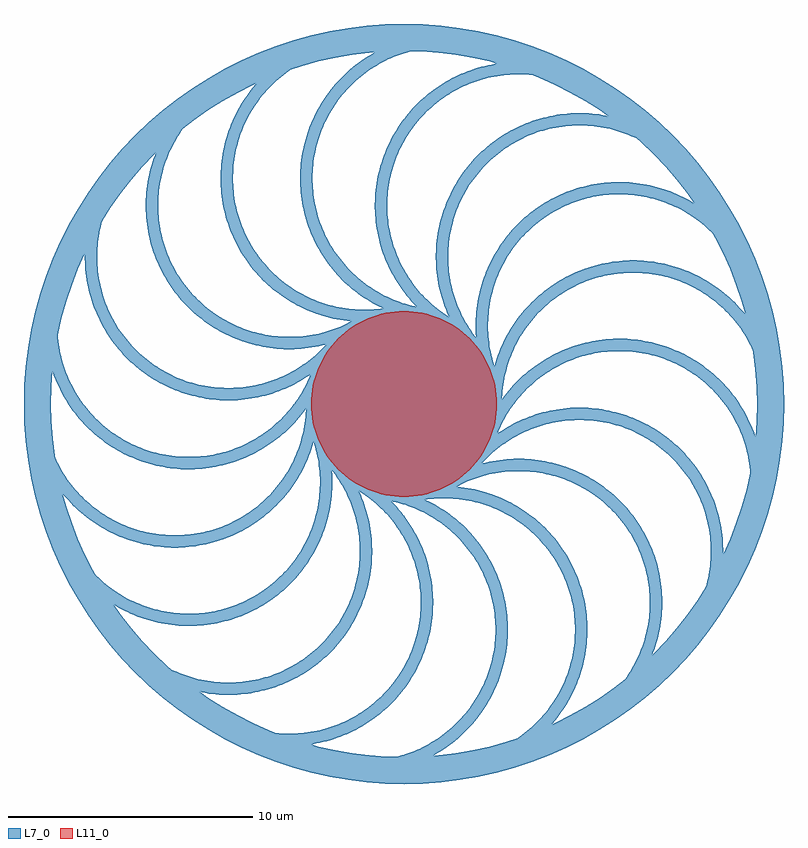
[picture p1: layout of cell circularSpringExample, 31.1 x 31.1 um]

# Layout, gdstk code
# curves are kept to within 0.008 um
import gdstk
lib = gdstk.Library(unit=1e-6, precision=1e-09)
def P(c, l, *ps):  # polygons
    for p in ps: c.add(gdstk.Polygon(p, *l))
L7_0 = (7, 0)
L11_0 = (11, 0)

circularspringexample = lib.new_cell('circularSpringExample')
P(circularspringexample, L7_0, [(0,-15.55),(-0.763,-15.531),(-1.524,-15.475),(-2.282,-15.382),(-3.034,-15.251),(-3.778,-15.084),(-4.514,-14.88),(-5.239,-14.641),(-5.951,-14.366),(-6.648,-14.057),(-7.33,-13.714),(-7.994,-13.338),(-8.639,-12.929),(-9.263,-12.49),(-9.865,-12.02),(-10.57,-11.401),(-6.991,-11.398),(-6.728,-11.382),(-6.335,-11.334),(-6.076,-11.286),(-5.692,-11.19),(-5.193,-11.02),(-4.831,-10.86),(-4.481,-10.674),(-4.039,-10.387),(-3.627,-10.058),(-3.34,-9.785),(-2.99,-9.39),(-2.754,-9.073),(-2.476,-8.624),(-2.298,-8.271),(-2.146,-7.906),(-2.021,-7.53),(-1.925,-7.147),(-1.84,-6.626),(-1.811,-6.231),(-1.81,-5.836),(-1.839,-5.441),(-1.896,-5.05),(-1.982,-4.663),(-2.141,-4.16),(-2.292,-3.794),(-2.469,-3.441),(-2.672,-3.101),(-2.956,-2.704),(-2.937,-3.03),(-2.94,-3.463),(-2.975,-3.894),(-3.041,-4.321),(-3.103,-4.603),(-3.221,-5.019),(-3.317,-5.291),(-3.485,-5.689),(-3.682,-6.074),(-3.907,-6.444),(-4.158,-6.796),(-4.34,-7.02),(-4.633,-7.338),(-4.841,-7.538),(-5.17,-7.818),(-5.401,-7.991),(-5.639,-8.153),(-6.012,-8.373),(-6.269,-8.504),(-6.665,-8.676),(-6.936,-8.775),(-7.351,-8.898),(-7.774,-8.989),(-8.202,-9.05),(-8.633,-9.079),(-9.066,-9.076),(-9.497,-9.041),(-9.782,-9),(-10.066,-8.946),(-10.484,-8.838),(-10.759,-8.749),(-11.181,-8.581),(-8.648,-8.579),(-8.385,-8.565),(-7.992,-8.519),(-7.475,-8.413),(-7.096,-8.301),(-6.848,-8.211),(-6.485,-8.053),(-6.135,-7.869),(-5.909,-7.732),(-5.584,-7.506),(-5.377,-7.343),(-5.082,-7.079),(-4.807,-6.794),(-4.636,-6.594),(-4.398,-6.277),(-4.184,-5.945),(-3.995,-5.597),(-3.833,-5.236),(-3.697,-4.865),(-3.589,-4.484),(-3.509,-4.096),(-3.458,-3.704),(-3.44,-3.441),(-3.437,-3.045),(-3.463,-2.65),(-3.519,-2.259),(-3.603,-1.872),(-3.703,-1.53),(-3.843,-1.979),(-3.947,-2.248),(-4.127,-2.641),(-4.336,-3.02),(-4.49,-3.264),(-4.743,-3.614),(-5.022,-3.945),(-5.324,-4.255),(-5.648,-4.541),(-5.992,-4.803),(-6.355,-5.039),(-6.734,-5.248),(-6.994,-5.371),(-7.396,-5.532),(-7.808,-5.662),(-8.229,-5.762),(-8.656,-5.831),(-9.087,-5.868),(-9.375,-5.875),(-9.807,-5.859),(-10.094,-5.831),(-10.521,-5.762),(-10.942,-5.662),(-11.354,-5.532),(-11.756,-5.371),(-12.016,-5.248),(-12.395,-5.039),(-12.758,-4.803),(-13.102,-4.541),(-13.426,-4.255),(-13.728,-3.945),(-13.979,-3.649),(-13.828,-4.195),(-13.605,-4.868),(-13.35,-5.53),(-13.063,-6.178),(-12.744,-6.812),(-12.664,-6.952),(-12.495,-7.119),(-12.093,-7.462),(-11.66,-7.763),(-11.2,-8.021),(-10.717,-8.232),(-10.342,-8.358),(-9.829,-8.484),(-9.307,-8.558),(-8.78,-8.581),(-11.181,-8.581),(-11.551,-8.403),(-11.886,-8.211),(-11.606,-8.608),(-11.17,-9.167),(-10.707,-9.704),(-10.218,-10.218),(-9.704,-10.707),(-9.52,-10.866),(-9.184,-11.014),(-8.937,-11.106),(-8.559,-11.222),(-8.302,-11.283),(-7.781,-11.368),(-7.519,-11.391),(-7.123,-11.401),(-10.57,-11.401),(-10.996,-10.996),(-11.522,-10.443),(-12.02,-9.865),(-12.49,-9.263),(-12.929,-8.639),(-13.338,-7.994),(-13.714,-7.33),(-14.057,-6.648),(-14.366,-5.951),(-14.641,-5.239),(-14.88,-4.514),(-15.084,-3.778),(-15.251,-3.034),(-15.382,-2.282),(-15.475,-1.524),(-15.531,-0.763),(-15.55,0),(-14.45,0),(-14.433,-0.709),(-14.38,-1.416),(-14.28,-2.197),(-14.052,-2.649),(-13.916,-2.876),(-13.692,-3.202),(-13.358,-3.61),(-13.176,-3.801),(-12.886,-4.07),(-12.47,-4.395),(-12.024,-4.677),(-11.553,-4.914),(-11.186,-5.061),(-10.681,-5.214),(-10.294,-5.296),(-9.902,-5.349),(-9.375,-5.375),(-8.848,-5.349),(-8.326,-5.272),(-7.815,-5.144),(-7.318,-4.966),(-6.841,-4.74),(-6.389,-4.469),(-5.965,-4.155),(-5.574,-3.801),(-5.22,-3.41),(-4.98,-3.095),(-4.698,-2.649),(-4.461,-2.178),(-4.271,-1.686),(-4.131,-1.178),(-4.04,-0.658),(-4.003,-0.171),(-4.198,-0.433),(-4.478,-0.763),(-4.782,-1.071),(-4.997,-1.263),(-5.22,-1.445),(-5.572,-1.696),(-5.817,-1.849),(-6.197,-2.056),(-6.591,-2.234),(-6.861,-2.336),(-7.135,-2.425),(-7.554,-2.533),(-7.979,-2.61),(-8.266,-2.643),(-8.553,-2.663),(-8.986,-2.666),(-9.417,-2.637),(-9.703,-2.6),(-10.268,-2.485),(-10.683,-2.362),(-10.954,-2.263),(-11.35,-2.091),(-11.607,-1.96),(-11.98,-1.74),(-12.219,-1.578),(-12.561,-1.315),(-12.779,-1.125),(-13.087,-0.821),(-13.279,-0.607),(-13.547,-0.268),(-13.732,0),(-13.123,0),(-12.899,-0.282),(-12.723,-0.479),(-12.441,-0.756),(-12.14,-1.013),(-11.929,-1.171),(-11.598,-1.389),(-11.369,-1.52),(-11.015,-1.695),(-10.523,-1.888),(-10.016,-2.031),(-9.627,-2.106),(-9.366,-2.14),(-8.839,-2.168),(-8.443,-2.156),(-8.181,-2.132),(-7.79,-2.071),(-7.532,-2.015),(-7.026,-1.864),(-6.78,-1.771),(-6.419,-1.608),(-6.186,-1.485),(-5.848,-1.279),(-5.631,-1.128),(-5.321,-0.883),(-5.125,-0.707),(-4.847,-0.425),(-4.496,0),(0,0),(0,-4.11),(-0.526,-3.972),(-0.302,-4.209),(0,-4.578),(0,-5.489),(-0.194,-5.169),(-0.344,-4.953),(-0.505,-4.743),(-0.764,-4.445),(-1.045,-4.166),(-1.244,-3.992),(-1.557,-3.75),(-1.853,-3.552),(-1.724,-3.852),(-1.579,-4.259),(-1.464,-4.676),(-1.404,-4.959),(-1.342,-5.387),(-1.31,-5.818),(-1.307,-6.106),(-1.329,-6.538),(-1.361,-6.825),(-1.436,-7.251),(-1.541,-7.67),(-1.678,-8.081),(-1.785,-8.348),(-1.97,-8.739),(-2.184,-9.115),(-2.425,-9.474),(-2.691,-9.815),(-2.982,-10.135),(-3.296,-10.433),(-3.631,-10.707),(-3.985,-10.955),(-4.23,-11.106),(-4.612,-11.309),(-5.008,-11.484),(-5.415,-11.629),(-5.832,-11.744),(-6.256,-11.828),(-6.686,-11.88),(-7.118,-11.901),(-7.55,-11.89),(-7.98,-11.847),(-8.359,-11.782),(-8.028,-12.015),(-7.429,-12.394),(-6.812,-12.744),(-6.178,-13.063),(-5.53,-13.35),(-5.228,-13.466),(-5.127,-13.476),(-4.6,-13.493),(-4.073,-13.459),(-3.553,-13.373),(-3.296,-13.311),(-2.918,-13.194),(-2.671,-13.102),(-2.31,-12.94),(-1.962,-12.752),(-1.738,-12.612),(-1.415,-12.383),(-1.21,-12.218),(-0.918,-11.951),(-0.735,-11.761),(-0.561,-11.563),(-0.318,-11.25),(-0.17,-11.032),(0,-10.748),(0,-11.661),(-0.27,-11.993),(-0.466,-12.205),(-0.887,-12.599),(-1.226,-12.866),(-1.585,-13.108),(-1.961,-13.323),(-2.219,-13.45),(-2.618,-13.617),(-3.028,-13.755),(-3.447,-13.862),(-3.825,-13.93),(-3.511,-14.017),(-2.819,-14.172),(-2.12,-14.294),(-1.416,-14.38),(-0.709,-14.433),(-0.307,-14.442),(0,-14.355)],
  [(0,-11.661),(0,-10.748),(0.152,-10.457),(0.311,-10.094),(0.402,-9.847),(0.516,-9.468),(0.601,-9.081),(0.642,-8.821),(0.679,-8.427),(0.687,-8.163),(0.676,-7.767),(0.652,-7.505),(0.616,-7.243),(0.537,-6.856),(0.43,-6.475),(0.295,-6.103),(0.133,-5.742),(0,-5.489),(0,-4.578),(0.302,-5.017),(0.516,-5.392),(0.703,-5.782),(0.86,-6.185),(0.987,-6.598),(1.084,-7.02),(1.164,-7.591),(1.187,-8.023),(1.168,-8.599),(1.117,-9.029),(1,-9.593),(0.876,-10.007),(0.722,-10.412),(0.471,-10.931),(0.25,-11.303)],
  [(0,-15.55),(0,-14.399),(1.169,-14.399),(1.416,-14.38),(2.12,-14.294),(2.819,-14.172),(3.511,-14.017),(4.195,-13.828),(4.65,-13.677),(4.946,-13.461),(5.327,-13.132),(6.022,-13.132),(6.812,-12.744),(7.429,-12.394),(8.028,-12.015),(8.608,-11.606),(9.045,-11.265),(9.181,-11.069),(9.386,-10.73),(9.607,-10.283),(10.149,-10.283),(10.707,-9.704),(11.17,-9.167),(11.606,-8.608),(12.015,-8.028),(12.352,-7.496),(12.442,-7.132),(12.509,-6.742),(12.547,-6.348),(12.556,-6.085),(12.546,-5.689),(12.507,-5.296),(12.465,-5.035),(12.377,-4.649),(12.262,-4.271),(12.17,-4.024),(12.009,-3.662),(11.822,-3.313),(11.61,-2.979),(11.374,-2.662),(11.115,-2.363),(10.93,-2.174),(10.737,-1.995),(10.43,-1.744),(10.107,-1.517),(9.767,-1.314),(9.413,-1.136),(9.048,-0.985),(8.672,-0.862),(8.416,-0.795),(8.028,-0.718),(7.636,-0.67),(7.24,-0.651),(6.977,-0.655),(6.582,-0.685),(6.191,-0.743),(5.933,-0.798),(5.551,-0.904),(5.302,-0.99),(4.937,-1.142),(4.584,-1.321),(4.244,-1.525),(4.027,-1.674),(3.715,-1.918),(3.423,-2.184),(3.177,-2.442),(3.636,-2.339),(4.064,-2.277),(4.495,-2.247),(4.928,-2.249),(5.359,-2.282),(5.786,-2.348),(6.208,-2.444),(6.621,-2.571),(7.024,-2.729),(7.414,-2.915),(7.79,-3.13),(8.264,-3.458),(8.597,-3.734),(8.909,-4.033),(9.198,-4.355),(9.463,-4.697),(9.625,-4.935),(9.846,-5.307),(10.097,-5.826),(10.203,-6.095),(10.337,-6.506),(10.409,-6.785),(10.492,-7.209),(10.543,-7.639),(10.559,-7.927),(10.562,-8.215),(10.539,-8.647),(10.459,-9.218),(10.398,-9.5),(10.281,-9.916),(10.149,-10.283),(9.607,-10.283),(9.763,-9.888),(9.879,-9.51),(9.968,-9.124),(10.041,-8.602),(10.062,-8.207),(10.045,-7.68),(9.998,-7.287),(9.891,-6.77),(9.777,-6.391),(9.583,-5.901),(9.407,-5.547),(9.205,-5.206),(8.978,-4.882),(8.729,-4.575),(8.457,-4.287),(8.063,-3.936),(7.746,-3.699),(7.413,-3.486),(7.065,-3.298),(6.704,-3.136),(6.332,-3.002),(5.951,-2.895),(5.563,-2.816),(5.171,-2.766),(4.775,-2.745),(4.38,-2.753),(3.986,-2.79),(3.596,-2.856),(3.212,-2.951),(2.835,-3.073),(2.469,-3.223),(2.15,-3.381),(2.617,-3.441),(2.9,-3.497),(3.318,-3.606),(3.727,-3.745),(4.125,-3.915),(4.51,-4.113),(4.879,-4.339),(5.23,-4.591),(5.561,-4.869),(5.872,-5.17),(6.159,-5.493),(6.422,-5.837),(6.659,-6.198),(6.868,-6.577),(7.05,-6.97),(7.201,-7.374),(7.323,-7.79),(7.414,-8.212),(7.486,-8.784),(7.503,-9.217),(7.488,-9.649),(7.442,-10.079),(7.331,-10.645),(7.211,-11.06),(7.005,-11.599),(6.748,-12.114),(6.44,-12.602),(6.18,-12.947),(6.022,-13.132),(5.327,-13.132),(5.62,-12.831),(5.874,-12.528),(6.105,-12.207),(6.312,-11.869),(6.548,-11.397),(6.694,-11.03),(6.812,-10.652),(6.903,-10.267),(6.964,-9.876),(7.002,-9.35),(6.996,-8.954),(6.961,-8.56),(6.897,-8.17),(6.767,-7.658),(6.637,-7.284),(6.481,-6.921),(6.297,-6.571),(6.089,-6.234),(5.774,-5.811),(5.511,-5.516),(5.227,-5.24),(4.923,-4.986),(4.602,-4.755),(4.149,-4.485),(3.671,-4.261),(3.3,-4.124),(2.92,-4.015),(2.532,-3.934),(2.14,-3.882),(1.745,-3.859),(1.218,-3.873),(0.864,-3.913),(1.282,-4.129),(1.649,-4.357),(1.999,-4.611),(2.329,-4.89),(2.638,-5.193),(2.924,-5.518),(3.185,-5.863),(3.492,-6.351),(3.69,-6.735),(3.859,-7.133),(3.999,-7.542),(4.108,-7.961),(4.186,-8.386),(4.232,-8.816),(4.247,-9.249),(4.23,-9.681),(4.158,-10.253),(4.067,-10.676),(3.898,-11.227),(3.737,-11.628),(3.546,-12.016),(3.248,-12.51),(2.994,-12.86),(2.714,-13.19),(2.411,-13.499),(1.974,-13.874),(1.502,-14.205),(1.169,-14.399),(0,-14.399),(0,-14.355),(0.415,-14.204),(0.893,-13.98),(1.235,-13.781),(1.562,-13.559),(1.872,-13.312),(2.162,-13.044),(2.432,-12.754),(2.681,-12.446),(2.905,-12.121),(3.167,-11.662),(3.332,-11.303),(3.471,-10.933),(3.613,-10.425),(3.687,-10.036),(3.731,-9.643),(3.747,-9.247),(3.734,-8.852),(3.691,-8.458),(3.59,-7.941),(3.48,-7.56),(3.343,-7.189),(3.18,-6.829),(2.921,-6.369),(2.698,-6.042),(2.452,-5.733),(2.183,-5.442),(1.894,-5.172),(1.479,-4.847),(1.148,-4.63),(0.802,-4.438),(0.443,-4.272),(0,-4.11),(0,0),(4.496,0),(4.284,-0.306),(4.147,-0.532),(3.963,-0.882),(3.82,-1.208),(4.216,-0.954),(4.469,-0.815),(4.728,-0.688),(5.127,-0.522),(5.538,-0.386),(5.957,-0.28),(6.24,-0.227),(6.67,-0.173),(6.957,-0.155),(7.39,-0.155),(7.678,-0.172),(8.107,-0.224),(8.531,-0.308),(8.81,-0.381),(9.221,-0.516),(9.621,-0.681),(10.007,-0.875),(10.379,-1.097),(10.733,-1.346),(11.067,-1.62),(11.381,-1.917),(11.672,-2.237),(11.938,-2.578),(12.179,-2.937),(12.393,-3.313),(12.578,-3.704),(12.734,-4.107),(12.861,-4.521),(12.956,-4.943),(13.02,-5.371),(13.052,-5.802),(13.054,-6.196),(13.35,-5.53),(13.605,-4.868),(13.828,-4.195),(14.017,-3.511),(14.171,-2.825),(14.131,-2.447),(14.06,-2.057),(13.962,-1.674),(13.835,-1.299),(13.681,-0.935),(13.501,-0.583),(13.295,-0.245),(13.123,0),(13.732,0),(13.937,-0.339),(14.072,-0.594),(14.25,-0.988),(14.385,-1.355),(14.433,-0.709),(14.45,0),(15.55,0),(15.531,-0.763),(15.475,-1.524),(15.382,-2.282),(15.251,-3.034),(15.084,-3.778),(14.88,-4.514),(14.641,-5.239),(14.366,-5.951),(14.057,-6.648),(13.714,-7.33),(13.338,-7.994),(12.929,-8.639),(12.49,-9.263),(12.02,-9.865),(11.522,-10.443),(10.996,-10.996),(10.443,-11.522),(9.865,-12.02),(9.263,-12.49),(8.639,-12.929),(7.994,-13.338),(7.33,-13.714),(6.648,-14.057),(5.951,-14.366),(5.239,-14.641),(4.514,-14.88),(3.778,-15.084),(3.034,-15.251),(2.282,-15.382),(1.524,-15.475),(0.763,-15.531)],
  [(0,4.578),(-0.302,5.017),(-0.516,5.392),(-0.703,5.782),(-0.86,6.185),(-0.987,6.598),(-1.084,7.02),(-1.164,7.591),(-1.187,8.023),(-1.168,8.599),(-1.117,9.029),(-1,9.593),(-0.876,10.007),(-0.722,10.412),(-0.471,10.931),(-0.25,11.303),(0,11.661),(0,10.748),(-0.152,10.457),(-0.311,10.094),(-0.402,9.847),(-0.516,9.468),(-0.601,9.081),(-0.642,8.821),(-0.679,8.427),(-0.687,8.163),(-0.676,7.767),(-0.652,7.505),(-0.616,7.243),(-0.537,6.856),(-0.43,6.475),(-0.295,6.103),(-0.133,5.742),(0,5.489)],
  [(-15.55,0),(-15.531,0.763),(-15.475,1.524),(-15.382,2.282),(-15.251,3.034),(-15.084,3.778),(-14.88,4.514),(-14.641,5.239),(-14.366,5.951),(-14.057,6.648),(-13.714,7.33),(-13.338,7.994),(-12.929,8.639),(-12.49,9.263),(-12.02,9.865),(-11.522,10.443),(-10.996,10.996),(-10.443,11.522),(-9.865,12.02),(-9.263,12.49),(-8.639,12.929),(-7.994,13.338),(-7.33,13.714),(-6.648,14.057),(-5.951,14.366),(-5.239,14.641),(-4.514,14.88),(-3.778,15.084),(-3.034,15.251),(-2.282,15.382),(-1.524,15.475),(-0.763,15.531),(0,15.55),(0,14.355),(-0.415,14.204),(-0.893,13.98),(-1.346,13.71),(-1.771,13.397),(-2.162,13.044),(-2.432,12.754),(-2.681,12.446),(-2.975,12.008),(-3.167,11.662),(-3.28,11.424),(-3.428,11.057),(-3.548,10.68),(-3.641,10.296),(-3.687,10.036),(-3.731,9.643),(-3.747,9.247),(-3.734,8.852),(-3.691,8.458),(-3.59,7.941),(-3.48,7.56),(-3.343,7.189),(-3.18,6.829),(-2.921,6.369),(-2.698,6.042),(-2.452,5.733),(-2.183,5.442),(-1.894,5.172),(-1.479,4.847),(-1.148,4.63),(-0.802,4.438),(-0.443,4.272),(0,4.11),(0,0),(-4.496,0),(-4.284,0.306),(-4.147,0.532),(-3.963,0.882),(-3.82,1.208),(-4.216,0.954),(-4.469,0.815),(-4.728,0.688),(-5.127,0.522),(-5.538,0.386),(-5.957,0.28),(-6.24,0.227),(-6.67,0.173),(-6.957,0.155),(-7.39,0.155),(-7.678,0.172),(-8.107,0.224),(-8.531,0.308),(-8.81,0.381),(-9.221,0.516),(-9.553,0.651),(-7.24,0.651),(-6.713,0.672),(-6.451,0.701),(-6.061,0.769),(-5.678,0.866),(-5.302,0.99),(-4.937,1.142),(-4.7,1.258),(-4.469,1.386),(-4.135,1.598),(-3.817,1.834),(-3.616,2.004),(-3.423,2.184),(-3.177,2.442),(-3.636,2.339),(-4.207,2.264),(-4.639,2.244),(-5.215,2.268),(-5.645,2.322),(-6.208,2.444),(-6.621,2.571),(-7.059,2.744),(-4.512,2.747),(-4.117,2.774),(-3.725,2.831),(-3.339,2.916),(-2.96,3.029),(-2.59,3.17),(-2.15,3.381),(-2.617,3.441),(-3.04,3.53),(-3.456,3.649),(-4,3.858),(-1.481,3.86),(-1.218,3.873),(-0.864,3.913),(-1.156,4.059),(-1.529,4.278),(-1.885,4.523),(-2.222,4.794),(-2.538,5.09),(-2.831,5.407),(-3.013,5.631),(-3.266,5.982),(-3.492,6.351),(-3.627,6.605),(-3.806,6.999),(-3.956,7.405),(-4.075,7.821),(-4.163,8.244),(-4.22,8.673),(-4.246,9.104),(-4.239,9.537),(-4.201,9.968),(-4.158,10.253),(-4.067,10.676),(-3.945,11.091),(-3.794,11.496),(-3.613,11.888),(-3.476,12.142),(-3.248,12.51),(-2.994,12.86),(-2.714,13.19),(-2.515,13.398),(-2.197,13.692),(-1.859,13.961),(-1.502,14.205),(-1.169,14.399),(-1.416,14.38),(-2.12,14.294),(-2.819,14.172),(-3.511,14.017),(-4.195,13.828),(-4.65,13.677),(-4.842,13.541),(-5.15,13.293),(-5.531,12.928),(-5.874,12.528),(-6.177,12.096),(-6.436,11.636),(-6.648,11.153),(-6.812,10.652),(-6.876,10.396),(-6.947,10.007),(-6.997,9.482),(-6.996,8.954),(-6.943,8.429),(-6.838,7.912),(-6.684,7.408),(-6.481,6.921),(-6.231,6.457),(-6.089,6.234),(-5.856,5.914),(-5.511,5.516),(-5.128,5.153),(-4.923,4.986),(-4.602,4.755),(-4.149,4.485),(-3.671,4.261),(-3.174,4.085),(-2.662,3.958),(-2.14,3.882),(-1.613,3.858),(-4,3.858),(-4.383,4.044),(-4.758,4.261),(-5.115,4.504),(-5.561,4.869),(-5.872,5.17),(-6.25,5.605),(-6.504,5.955),(-6.732,6.323),(-6.932,6.706),(-7.103,7.103),(-7.245,7.512),(-7.357,7.93),(-7.437,8.355),(-7.486,8.784),(-7.503,9.217),(-7.488,9.649),(-7.442,10.079),(-7.364,10.504),(-7.255,10.923),(-7.115,11.332),(-6.946,11.73),(-6.748,12.114),(-6.522,12.483),(-6.269,12.834),(-6.022,13.132),(-6.812,12.744),(-7.429,12.394),(-8.028,12.015),(-8.608,11.606),(-9.045,11.265),(-9.107,11.178),(-9.386,10.73),(-9.619,10.257),(-9.805,9.763),(-9.912,9.382),(-10.011,8.864),(-10.051,8.471),(-10.06,7.943),(-10.017,7.417),(-9.922,6.898),(-9.777,6.391),(-9.583,5.901),(-9.407,5.547),(-9.205,5.206),(-8.898,4.778),(-8.55,4.381),(-8.165,4.02),(-7.746,3.699),(-7.413,3.486),(-6.946,3.241),(-6.581,3.088),(-6.079,2.927),(-5.693,2.839),(-5.171,2.766),(-4.644,2.744),(-7.059,2.744),(-7.414,2.915),(-7.667,3.055),(-8.031,3.288),(-8.377,3.547),(-8.704,3.831),(-8.909,4.033),(-9.198,4.355),(-9.463,4.697),(-9.625,4.935),(-9.846,5.307),(-10.039,5.694),(-10.151,5.96),(-10.251,6.231),(-10.375,6.645),(-10.468,7.067),(-10.512,7.352),(-10.543,7.639),(-10.562,8.071),(-10.558,8.359),(-10.524,8.79),(-10.459,9.218),(-10.398,9.5),(-10.281,9.916),(-10.149,10.283),(-10.707,9.704),(-11.17,9.167),(-11.606,8.608),(-12.015,8.028),(-12.352,7.496),(-12.442,7.132),(-12.509,6.742),(-12.547,6.348),(-12.556,5.953),(-12.546,5.689),(-12.507,5.296),(-12.439,4.906),(-12.342,4.522),(-12.17,4.024),(-12.009,3.662),(-11.822,3.313),(-11.61,2.979),(-11.374,2.662),(-11.024,2.267),(-10.737,1.995),(-10.43,1.744),(-9.995,1.446),(-9.651,1.252),(-9.293,1.083),(-8.923,0.941),(-8.416,0.795),(-8.028,0.718),(-7.636,0.67),(-7.24,0.651),(-9.553,0.651),(-10.007,0.875),(-10.499,1.177),(-10.846,1.434),(-11.279,1.816),(-11.672,2.237),(-12.022,2.696),(-12.325,3.186),(-12.52,3.572),(-12.634,3.837),(-12.822,4.382),(-12.956,4.943),(-13.034,5.514),(-13.052,5.802),(-13.054,6.196),(-13.35,5.53),(-13.605,4.868),(-13.828,4.195),(-14.017,3.511),(-14.171,2.825),(-14.131,2.447),(-14.06,2.057),(-13.962,1.674),(-13.835,1.299),(-13.681,0.935),(-13.501,0.583),(-13.295,0.245),(-13.123,0),(-13.732,0),(-13.937,0.339),(-14.072,0.594),(-14.25,0.988),(-14.385,1.355),(-14.433,0.709),(-14.45,0)],
  [(0,0),(0,1.53),(3.703,1.53),(3.843,1.979),(3.947,2.248),(4.064,2.512),(4.263,2.896),(4.411,3.143),(4.656,3.5),(4.926,3.837),(5.221,4.154),(5.538,4.449),(5.875,4.719),(6.232,4.964),(6.479,5.112),(6.863,5.311),(7.127,5.428),(7.532,5.578),(7.947,5.699),(8.371,5.789),(8.799,5.847),(9.231,5.873),(9.663,5.868),(10.094,5.831),(10.521,5.762),(10.942,5.662),(11.354,5.532),(11.756,5.371),(12.016,5.248),(12.395,5.039),(12.758,4.803),(13.102,4.541),(13.426,4.255),(13.728,3.945),(13.979,3.649),(13.828,4.195),(13.605,4.868),(13.35,5.53),(13.063,6.178),(12.664,6.952),(12.397,7.209),(12.197,7.38),(11.771,7.692),(11.548,7.832),(11.2,8.021),(10.717,8.232),(10.215,8.394),(9.7,8.507),(9.176,8.569),(8.648,8.579),(8.385,8.565),(7.992,8.519),(7.603,8.444),(7.348,8.379),(6.848,8.211),(6.485,8.053),(6.25,7.933),(5.799,7.659),(5.377,7.343),(5.082,7.079),(4.897,6.891),(4.554,6.49),(4.398,6.277),(4.184,5.945),(3.938,5.478),(3.739,4.99),(3.658,4.739),(3.559,4.355),(3.472,3.835),(3.436,3.309),(3.437,3.045),(3.463,2.65),(3.544,2.129),(3.603,1.872),(3.703,1.53),(0,1.53),(0,2.704),(2.956,2.704),(2.937,3.03),(2.94,3.463),(2.975,3.894),(3.041,4.321),(3.139,4.742),(3.267,5.155),(3.426,5.558),(3.613,5.948),(3.829,6.322),(4.072,6.68),(4.34,7.02),(4.633,7.338),(4.948,7.634),(5.284,7.906),(5.639,8.153),(6.012,8.373),(6.269,8.504),(6.665,8.676),(6.936,8.775),(7.351,8.898),(7.774,8.989),(8.202,9.05),(8.489,9.073),(8.922,9.08),(9.21,9.068),(9.64,9.022),(10.066,8.946),(10.484,8.838),(10.894,8.699),(11.293,8.531),(11.551,8.403),(11.886,8.211),(11.606,8.608),(11.17,9.167),(10.707,9.704),(10.218,10.218),(9.704,10.707),(9.52,10.866),(9.061,11.062),(8.559,11.222),(8.043,11.332),(7.519,11.391),(6.991,11.398),(6.466,11.353),(5.947,11.257),(5.44,11.111),(4.95,10.916),(4.481,10.674),(4.257,10.536),(3.933,10.308),(3.727,10.144),(3.433,9.878),(3.16,9.592),(2.99,9.39),(2.83,9.181),(2.609,8.852),(2.355,8.39),(2.244,8.151),(2.101,7.782),(1.954,7.275),(1.876,6.887),(1.84,6.626),(1.807,6.099),(1.816,5.704),(1.839,5.441),(1.896,5.05),(1.95,4.791),(2.055,4.41),(2.141,4.16),(2.348,3.675),(2.469,3.441),(2.672,3.101),(2.956,2.704),(0,2.704),(0,4.11),(0.526,3.972),(0.302,4.209),(0,4.578),(0,5.489),(0.194,5.169),(0.344,4.953),(0.505,4.743),(0.764,4.445),(1.045,4.166),(1.244,3.992),(1.557,3.75),(1.853,3.552),(1.672,3.987),(1.537,4.398),(1.432,4.817),(1.359,5.243),(1.317,5.674),(1.307,6.106),(1.329,6.538),(1.383,6.967),(1.468,7.391),(1.583,7.808),(1.73,8.215),(1.905,8.61),(2.11,8.991),(2.342,9.356),(2.6,9.703),(2.883,10.031),(3.084,10.237),(3.405,10.527),(3.747,10.792),(4.107,11.032),(4.483,11.245),(4.742,11.371),(5.142,11.536),(5.415,11.629),(5.832,11.744),(6.114,11.803),(6.399,11.849),(6.829,11.891),(7.262,11.901),(7.55,11.89),(7.98,11.847),(8.359,11.782),(8.028,12.015),(7.429,12.394),(6.812,12.744),(6.178,13.063),(5.53,13.35),(5.228,13.466),(5.127,13.476),(4.6,13.493),(4.073,13.459),(3.553,13.373),(3.296,13.311),(2.918,13.194),(2.671,13.102),(2.31,12.94),(1.962,12.752),(1.738,12.612),(1.415,12.383),(1.21,12.218),(0.918,11.951),(0.735,11.761),(0.561,11.563),(0.318,11.25),(0.17,11.032),(0,10.748),(0,11.661),(0.27,11.993),(0.466,12.205),(0.887,12.599),(1.226,12.866),(1.585,13.108),(1.961,13.323),(2.219,13.45),(2.618,13.617),(3.028,13.755),(3.447,13.862),(3.825,13.93),(3.511,14.017),(2.819,14.172),(2.12,14.294),(1.416,14.38),(0.709,14.433),(0.307,14.442),(0,14.355),(0,15.55),(0.763,15.531),(1.524,15.475),(2.282,15.382),(3.034,15.251),(3.778,15.084),(4.514,14.88),(5.239,14.641),(5.951,14.366),(6.648,14.057),(7.33,13.714),(7.994,13.338),(8.639,12.929),(9.263,12.49),(9.865,12.02),(10.443,11.522),(10.996,10.996),(11.522,10.443),(12.02,9.865),(12.49,9.263),(12.929,8.639),(13.338,7.994),(13.714,7.33),(14.057,6.648),(14.366,5.951),(14.641,5.239),(14.88,4.514),(15.084,3.778),(15.251,3.034),(15.382,2.282),(15.475,1.524),(15.531,0.763),(15.55,0),(14.45,0),(14.433,0.709),(14.38,1.416),(14.28,2.197),(14.052,2.649),(13.916,2.876),(13.692,3.202),(13.358,3.61),(13.176,3.801),(12.886,4.07),(12.47,4.395),(12.024,4.677),(11.553,4.914),(11.186,5.061),(10.681,5.214),(10.294,5.296),(9.902,5.349),(9.375,5.375),(8.848,5.349),(8.326,5.272),(7.815,5.144),(7.318,4.966),(6.841,4.74),(6.389,4.469),(5.965,4.155),(5.574,3.801),(5.22,3.41),(4.98,3.095),(4.698,2.649),(4.461,2.178),(4.271,1.686),(4.131,1.178),(4.04,0.658),(4.003,0.171),(4.198,0.433),(4.478,0.763),(4.782,1.071),(4.997,1.263),(5.22,1.445),(5.572,1.696),(5.817,1.849),(6.197,2.056),(6.591,2.234),(6.861,2.336),(7.135,2.425),(7.554,2.533),(7.979,2.61),(8.266,2.643),(8.553,2.663),(8.986,2.666),(9.417,2.637),(9.703,2.6),(10.268,2.485),(10.683,2.362),(10.954,2.263),(11.35,2.091),(11.607,1.96),(11.98,1.74),(12.219,1.578),(12.561,1.315),(12.779,1.125),(13.087,0.821),(13.279,0.607),(13.547,0.268),(13.732,0),(13.123,0),(12.899,0.282),(12.723,0.479),(12.441,0.756),(12.14,1.013),(11.929,1.171),(11.598,1.389),(11.369,1.52),(11.015,1.695),(10.523,1.888),(10.016,2.031),(9.627,2.106),(9.366,2.14),(8.839,2.168),(8.443,2.156),(8.181,2.132),(7.79,2.071),(7.532,2.015),(7.026,1.864),(6.78,1.771),(6.419,1.608),(6.186,1.485),(5.848,1.279),(5.631,1.128),(5.321,0.883),(5.125,0.707),(4.847,0.425),(4.496,0)])
P(circularspringexample, L11_0, [(0,-3.8),(-0.372,-3.782),(-0.741,-3.727),(-1.103,-3.636),(-1.454,-3.511),(-1.791,-3.351),(-2.111,-3.16),(-2.411,-2.937),(-2.687,-2.687),(-2.937,-2.411),(-3.16,-2.111),(-3.351,-1.791),(-3.511,-1.454),(-3.636,-1.103),(-3.727,-0.741),(-3.782,-0.372),(-3.8,0),(-3.782,0.372),(-3.727,0.741),(-3.636,1.103),(-3.511,1.454),(-3.351,1.791),(-3.16,2.111),(-2.937,2.411),(-2.687,2.687),(-2.411,2.937),(-2.111,3.16),(-1.791,3.351),(-1.454,3.511),(-1.103,3.636),(-0.741,3.727),(-0.372,3.782),(0,3.8),(0.372,3.782),(0.741,3.727),(1.103,3.636),(1.454,3.511),(1.791,3.351),(2.111,3.16),(2.411,2.937),(2.687,2.687),(2.937,2.411),(3.16,2.111),(3.351,1.791),(3.511,1.454),(3.636,1.103),(3.727,0.741),(3.782,0.372),(3.8,0),(3.782,-0.372),(3.727,-0.741),(3.636,-1.103),(3.511,-1.454),(3.351,-1.791),(3.16,-2.111),(2.937,-2.411),(2.687,-2.687),(2.411,-2.937),(2.111,-3.16),(1.791,-3.351),(1.454,-3.511),(1.103,-3.636),(0.741,-3.727),(0.372,-3.782)])

lib.write_gds('circularSpringExample.gds')
